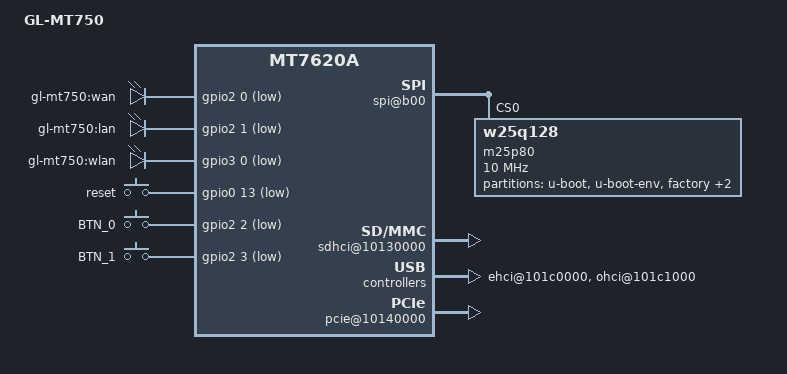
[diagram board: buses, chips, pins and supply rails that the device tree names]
/dts-v1/;

/include/ "mt7620a.dtsi"

/ {
	compatible = "GL-MT750", "ralink,mt7620a-soc";
	model = "GL-MT750";

	chosen {
		bootargs = "console=ttyS0,115200";
	};

	palmbus@10000000 {
		gpio0: gpio@600 {
			status = "okay";
		};

		gpio1: gpio@638 {
			status = "okay";
		};

		gpio2: gpio@660 {
			status = "okay";
		};
		
		gpio3: gpio@688 {
		      status = "okay";
		 };

		spi@b00 {
			status = "okay";

			m25p80@0 {
				#address-cells = <1>;
				#size-cells = <1>;
				compatible = "w25q128";
				reg = <0 0>;
				linux,modalias = "m25p80", "w25q128";
				spi-max-frequency = <10000000>;

				partition@0 {
					label = "u-boot";
					reg = <0x0 0x30000>;
				};

				partition@30000 {
					label = "u-boot-env";
					reg = <0x30000 0x10000>;
					read-only;
				};

				factory: partition@40000 {
					label = "factory";
					reg = <0x40000 0x10000>;
					read-only;
				};

				partition@50000 {
					label = "firmware";
					reg = <0x50000 0xf80000>;
				};

				partition@ff0000 {
					label = "art";
					reg = <0xff0000 0x10000>;
				};
			};
		};
	};

	sdhci@10130000 {
		status = "okay";
	};

	ehci@101c0000 {
		status = "okay";
	};

	ohci@101c1000 {
		status = "okay";
	};

	ethernet@10100000 {
		pinctrl-names = "default";
		pinctrl-0 = <&ephy_pins>;
		mtd-mac-address = <&factory 0x4000>;
		ralink,port-map = "llllw";
	};

	wmac@10180000 {
		ralink,mtd-eeprom = <&factory 0>;
	};

	pcie@10140000 {
		status = "okay";

		pcie-bridge {
			mt76@0,0 {
				reg = <0x0000 0 0 0 0>;
				device_type = "pci";
				mediatek,mtd-eeprom = <&factory 0x8000>;
				mediatek,2ghz = <0>;
			};
		};
	};

	pinctrl {
		state_default: pinctrl0 {
			gpio {
				ralink,group = "wled","ephy","uartf";
				ralink,function = "gpio";
			};
		};
	};

	gpio-leds {
		compatible = "gpio-leds";

		wan {
			label = "gl-mt750:wan";
			gpios = <&gpio2 0 1>;
		};

		lan {
			label = "gl-mt750:lan";
			gpios = <&gpio2 1 1>;
		};

		wlan {
			label = "gl-mt750:wlan";
			gpios = <&gpio3 0 1>;
		};

	};

	gpio-keys-polled {
		compatible = "gpio-keys-polled";
		#address-cells = <1>;
		#size-cells = <0>;
		poll-interval = <20>;
		reset {
			label = "reset";
			gpios = <&gpio0 13 1>;
			linux,code = <0x198>;
		};

		BTN_0 {
			label = "BTN_0";
			gpios = <&gpio2 2 1>;
			linux,code = <0x100>;
		};

  	    BTN_1 {
			label = "BTN_1";
			gpios = <&gpio2 3 1>;
			linux,code = <0x101>;
		};
 	};
};
